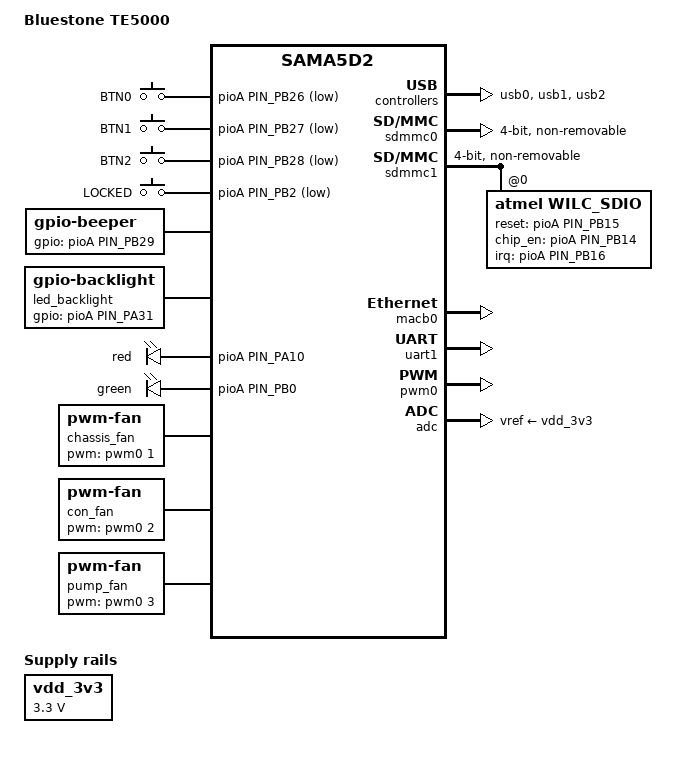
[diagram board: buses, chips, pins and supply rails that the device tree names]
/*
 * at91-sama5d27_som1_ek_common.dtsi - Device Tree file for SAMA5D27-SOM1-EK board
 *
 *  Copyright (c) 2017, Microchip Technology Inc.
 *                2016 Nicolas Ferre <nicolas.ferre@atmel.com>
 *                2017 Cristian Birsan <cristian.birsan@microchip.com>
 *                2017 Claudiu Beznea <claudiu.beznea@microchip.com>
 *
 * This file is dual-licensed: you can use it either under the terms
 * of the GPL or the X11 license, at your option. Note that this dual
 * licensing only applies to this file, and not this project as a
 * whole.
 *
 *  a) This file is free software; you can redistribute it and/or
 *     modify it under the terms of the GNU General Public License as
 *     published by the Free Software Foundation; either version 2 of the
 *     License, or (at your option) any later version.
 *
 *     This file is distributed in the hope that it will be useful,
 *     but WITHOUT ANY WARRANTY; without even the implied warranty of
 *     MERCHANTABILITY or FITNESS FOR A PARTICULAR PURPOSE.  See the
 *     GNU General Public License for more details.
 *
 * Or, alternatively,
 *
 *  b) Permission is hereby granted, free of charge, to any person
 *     obtaining a copy of this software and associated documentation
 *     files (the "Software"), to deal in the Software without
 *     restriction, including without limitation the rights to use,
 *     copy, modify, merge, publish, distribute, sublicense, and/or
 *     sell copies of the Software, and to permit persons to whom the
 *     Software is furnished to do so, subject to the following
 *     conditions:
 *
 *     The above copyright notice and this permission notice shall be
 *     included in all copies or substantial portions of the Software.
 *
 *     THE SOFTWARE IS PROVIDED "AS IS", WITHOUT WARRANTY OF ANY KIND,
 *     EXPRESS OR IMPLIED, INCLUDING BUT NOT LIMITED TO THE WARRANTIES
 *     OF MERCHANTABILITY, FITNESS FOR A PARTICULAR PURPOSE AND
 *     NONINFRINGEMENT. IN NO EVENT SHALL THE AUTHORS OR COPYRIGHT
 *     HOLDERS BE LIABLE FOR ANY CLAIM, DAMAGES OR OTHER LIABILITY,
 *     WHETHER IN AN ACTION OF CONTRACT, TORT OR OTHERWISE, ARISING
 *     FROM, OUT OF OR IN CONNECTION WITH THE SOFTWARE OR THE USE OR
 *     OTHER DEALINGS IN THE SOFTWARE.
 */
/dts-v1/;
#include "at91-sama5d27_som1.dtsi"
#include <dt-bindings/mfd/atmel-flexcom.h>
#include <dt-bindings/gpio/gpio.h>
#include <dt-bindings/pinctrl/at91.h>
#include <dt-bindings/input/linux-event-codes.h>
#include <dt-bindings/pwm/pwm.h>

/ {
	model = "Bluestone TE5000";
	compatible = "atmel,bluestone-te5000", "atmel,sama5d27-som1", "atmel,sama5d27", "atmel,sama5d2", "atmel,sama5";

	aliases {
		serial0 = &uart1;	/* DBGU */
	};

	chosen {
		stdout-path = "serial0:115200n8";
	};

	ahb {
		usb0: gadget@00300000 {
			atmel,vbus-gpio = <&pioA PIN_PD20 GPIO_ACTIVE_HIGH>;
			pinctrl-names = "default";
			pinctrl-0 = <&pinctrl_usba_vbus>;
			status = "okay";
		};

		usb1: ohci@00400000 {
			num-ports = <3>;
			/* Commented out because of conflict with input buttons */
			/* atmel,vbus-gpio = <0 /\* &pioA PIN_PD20 GPIO_ACTIVE_HIGH *\/ */
			/* 		   &pioA PIN_PA27 GPIO_ACTIVE_HIGH */
			/* 		   0 */
			/* 		  >; */
			pinctrl-names = "default";
			pinctrl-0 = <&pinctrl_usb_default>;
			status = "okay";
		};

		usb2: ehci@00500000 {
			status = "okay";
		};

		sdmmc0: sdio-host@a0000000 {
			bus-width = <4>;
			pinctrl-names = "default";
			pinctrl-0 = <&pinctrl_sdmmc0_default>;
			non-removable;
			disable-wp;
			no-1-8-v;
			status = "okay";
		};

		sdmmc1: sdio-host@b0000000 {
			bus-width = <4>;
			pinctrl-names = "default";
			pinctrl-0 = <&pinctrl_sdmmc1_default>;
			non-removable;
			disable-wp;
			no-1-8-v;
			status = "okay";
			max-frequency = <500000>; /* Determined experimentally */
			wilc_sdio@0{
				compatible = "atmel,wilc_sdio";
				pinctrl-names = "default";
				pinctrl-0 = <&pinctrl_wilc_default>;
				gpio_reset = <&pioA PIN_PB15 GPIO_ACTIVE_HIGH>;
				gpio_chip_en = <&pioA PIN_PB14 GPIO_ACTIVE_HIGH>;
				gpio_irq = <&pioA PIN_PB16 GPIO_ACTIVE_HIGH>;
				status = "okay";
			};
		};

		apb {
			pmc: pmc@f0014000 {
				pmc_fast_restart {
					compatible = "atmel,sama5d2-pmc-fast-startup";
					#address-cells = <1>;
					#size-cells = <0>;

					atmel,wakeup-rtc-timer;

					wkpin: input@0 {
						reg = <0>;
					};

					gmac_wol: input@10 {
						reg = <10>;
						atmel,wakeup-active-high;
					};
				};
			};

			macb0: ethernet@f8008000 {
				status = "okay";
			};

			uart1: serial@f8020000 {
				pinctrl-names = "default";
				pinctrl-0 = <&pinctrl_uart1_default>;
				atmel,use-dma-rx;
				atmel,use-dma-tx;
				status = "okay";
			};

			pwm0: pwm@f802c000 {
				pinctrl-names = "default";
				pinctrl-0 = <&pinctrl_pwm0_default>;
				status = "okay";
			};

			shdwc@f8048010 {
				atmel,shdwc-debouncer = <976>;
				atmel,wakeup-rtc-timer;

				input@0 {
					reg = <0>;
					atmel,wakeup-type = "low";
				};
			};

			watchdog@f8048040 {
				status = "okay";
			};

			flx3: flexcom@fc014000 {
				atmel,flexcom-mode = <ATMEL_FLEXCOM_MODE_SPI>;
				status = "disabled";

				uart7: serial@200 {
					compatible = "atmel,at91sam9260-usart";
					reg = <0x200 0x200>;
					interrupts = <22 IRQ_TYPE_LEVEL_HIGH 7>;
					clocks = <&flx3_clk>;
					clock-names = "usart";
					pinctrl-names = "default";
					pinctrl-0 = <&pinctrl_flx3_default>;
					atmel,fifo-size = <32>;
					status = "disabled";
				};
			};

			adc: adc@fc030000 {
					vref-supply = <&vdd_3v3>;
					vddana-supply = <&vdd_3v3>;
					pinctrl-names = "default";
					pinctrl-0 = <&pinctrl_an_default>;
					status = "okay";
			};

			pinctrl@fc038000 {
				pinctrl_flx3_default: flx3_default {
					pinmux = <PIN_PC20__FLEXCOM3_IO0>,
						 <PIN_PC19__FLEXCOM3_IO1>,
						 <PIN_PC21__FLEXCOM3_IO3>,
						 <PIN_PC22__FLEXCOM3_IO4>;
					bias-disable;
				};

				pinctrl_an_default: an_default {
					pinmux = <PIN_PD23__GPIO>,
						 <PIN_PD24__GPIO>;
					bias-disable;
				};

				pinctrl_key_gpio_default: key_gpio_default {
					pinmux = <PIN_PB26__GPIO>,
						 <PIN_PB27__GPIO>,
						 <PIN_PB28__GPIO>;
					bias-pull-up;
				};

				pinctrl_lock_feedback_default: lock_feedback_default {
					pinmux = <PIN_PB2__GPIO>;
					bias-disable;
				};

				pinctrl_beeper_gpio_default: beeper_gpio_default {
					pinmux = <PIN_PB29__GPIO>;
					bias-pull-up;
				};

				pinctrl_backlight_gpio_default: backlight_gpio_default {
					pinmux = <PIN_PA31__GPIO>;
					bias-disable;
				};

				pinctrl_led_gpio_default: led_gpio_default {
					pinmux = <PIN_PA10__GPIO>,
						 <PIN_PB0__GPIO>;
					bias-pull-up;
				};

				pinctrl_sdmmc0_default: sdmmc0_default {
					cmd_data {
						pinmux = <PIN_PA1__SDMMC0_CMD>,
							 <PIN_PA2__SDMMC0_DAT0>,
							 <PIN_PA3__SDMMC0_DAT1>,
							 <PIN_PA4__SDMMC0_DAT2>,
							 <PIN_PA5__SDMMC0_DAT3>;
						bias-disable;
					};

					ck_cd_vddsel {
						pinmux = <PIN_PA0__SDMMC0_CK>;
						bias-disable;
					};
				};

				pinctrl_sdmmc1_default: sdmmc1_default {
					cmd_data {
						pinmux = <PIN_PA28__SDMMC1_CMD>,
							 <PIN_PA18__SDMMC1_DAT0>,
							 <PIN_PA19__SDMMC1_DAT1>,
							 <PIN_PA20__SDMMC1_DAT2>,
							 <PIN_PA21__SDMMC1_DAT3>;
						bias-disable;
					};

					conf-ck_cd {
						pinmux = <PIN_PA22__SDMMC1_CK>;
						bias-disable;
					};
				};

				pinctrl_wilc_default: wilc_default {
					outputs {
						pinmux = <PIN_PB15__GPIO>,
							 <PIN_PB14__GPIO>;
						output-low;
					};
					inputs {
						pinmux = <PIN_PB16__GPIO>;
						bias-disable;
					};
				};

				pinctrl_uart1_default: uart1_default {
					pinmux = <PIN_PD2__URXD1>,
						 <PIN_PD3__UTXD1>;
					bias-disable;
				};

				pinctrl_pwm0_default: pwm0_default {
					pinmux = <PIN_PB1__PWML1>,
						 <PIN_PB6__PWML2>,
						 <PIN_PB8__PWML3>;
					bias-disable;
				};

				pinctrl_usb_default: usb_default {
					pinmux = <PIN_PD19__GPIO>;
					bias-disable;
				};

				pinctrl_usba_vbus: usba_vbus {
					pinmux = <PIN_PD20__GPIO>;
					bias-disable;
				};
			};
		};
	};

	vdd_3v3: fixedregulator@0 {
		compatible = "regulator-fixed";
		regulator-name = "VDD_3V3";
		regulator-min-microvolt = <3300000>;
		regulator-max-microvolt = <3300000>;
		regulator-always-on;
		regulator-boot-on;
	};

	panel_buttons {
		compatible = "gpio-keys";

		pinctrl-names = "default";
		pinctrl-0 = <&pinctrl_key_gpio_default>;

		btn0 {
			label = "BTN0";
			gpios = <&pioA PIN_PB26 GPIO_ACTIVE_LOW>;
			linux,code = <BTN_0>;
			wakeup-source;
		};
		btn1 {
			label = "BTN1";
			gpios = <&pioA PIN_PB27 GPIO_ACTIVE_LOW>;
			linux,code = <BTN_1>;
			wakeup-source;
		};
		btn2 {
			label = "BTN2";
			gpios = <&pioA PIN_PB28 GPIO_ACTIVE_LOW>;
			linux,code = <BTN_2>;
			wakeup-source;
		};
	};

	lock_feedback {
		compatible = "gpio-keys";
		pinctrl-names = "default";
		pinctrl-0 = <&pinctrl_lock_feedback_default>;

		locked {
			label = "LOCKED";
			gpios = <&pioA PIN_PB2 GPIO_ACTIVE_LOW>;
			debounce-interval = <200>;
			linux,code = <BTN_3>;
		};
	};

	beeper {
		compatible = "gpio-beeper";
		pinctrl-names = "default";
		pinctrl-0 = <&pinctrl_beeper_gpio_default>;
		gpios = <&pioA PIN_PB29 GPIO_ACTIVE_HIGH>;
		status = "okay";
	};

        led_backlight {
                compatible = "gpio-backlight";
		pinctrl-names = "default";
		pinctrl-0 = <&pinctrl_backlight_gpio_default>;
                gpios = <&pioA PIN_PA31 GPIO_ACTIVE_HIGH>;
                default-on;
        };

	leds {
		compatible = "gpio-leds";
		pinctrl-names = "default";
		pinctrl-0 = <&pinctrl_led_gpio_default>;
		status = "okay"; /* Conflict with pwm0. */

		red {
			label = "red";
			gpios = <&pioA PIN_PA10 GPIO_ACTIVE_HIGH>;
		};

		green {
			label = "green";
			gpios = <&pioA PIN_PB0 GPIO_ACTIVE_HIGH>;
			linux,default-trigger = "heartbeat";
		};
	};

	chassis_fan {
		compatible = "pwm-fan";
		pwms = <&pwm0 1 40000 PWM_POLARITY_INVERTED>;
		pwm-value = <0>;
	};

	con_fan {
		compatible = "pwm-fan";
		pwms = <&pwm0 2 40000 PWM_POLARITY_INVERTED>;
		pwm-value = <0>;
	};

	pump_fan {
		compatible = "pwm-fan";
		pwms = <&pwm0 3 40000 PWM_POLARITY_INVERTED>;
		pwm-value = <0>;
	};
};
